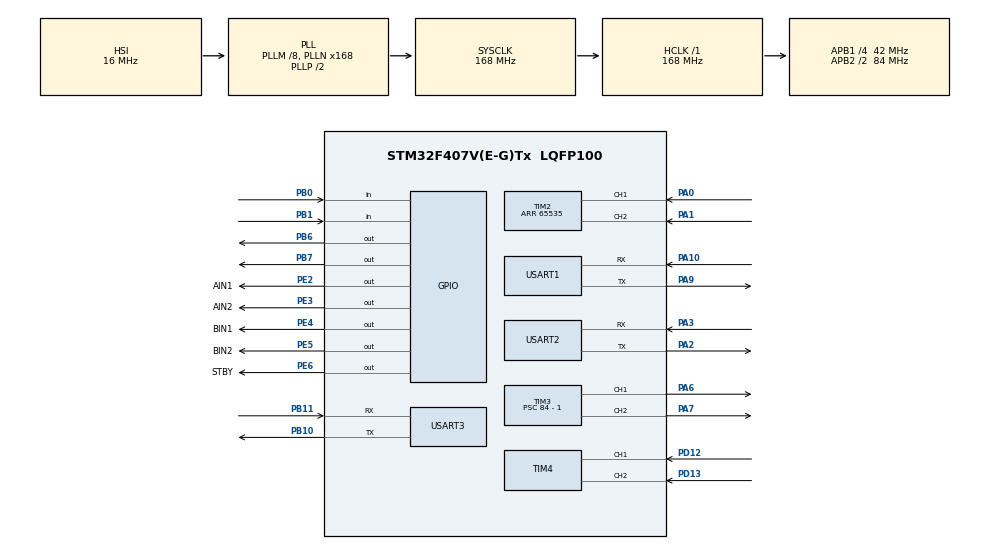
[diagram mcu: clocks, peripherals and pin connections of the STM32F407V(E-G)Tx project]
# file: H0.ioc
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Mcu.Family=STM32F4
Mcu.Name=STM32F407V(E-G)Tx
Mcu.Package=LQFP100
NVIC.PriorityGroup=NVIC_PRIORITYGROUP_4
NVIC.TIM6_DAC_IRQn=true\:0\:0\:false\:false\:true\:true\:true\:true
NVIC.USART2_IRQn=true\:0\:0\:false\:false\:true\:true\:true\:true
NVIC.USART3_IRQn=true\:0\:0\:false\:false\:true\:true\:true\:true
PA0-WKUP.Signal=S_TIM2_CH1_ETR
PA1.Signal=S_TIM2_CH2
PA10.Mode=Asynchronous
PA10.Signal=USART1_RX
PA13.Mode=Serial_Wire
PA13.Signal=SYS_JTMS-SWDIO
PA14.Mode=Serial_Wire
PA14.Signal=SYS_JTCK-SWCLK
PA2.Mode=Asynchronous
PA2.Signal=USART2_TX
PA3.Mode=Asynchronous
PA3.Signal=USART2_RX
PA6.Signal=S_TIM3_CH1
PA7.Signal=S_TIM3_CH2
PA9.Mode=Asynchronous
PA9.Signal=USART1_TX
PB0.GPIO_PuPd=GPIO_PULLUP
PB0.Signal=GPIO_Input
PB1.GPIO_PuPd=GPIO_PULLUP
PB1.Signal=GPIO_Input
PB10.Mode=Asynchronous
PB10.Signal=USART3_TX
PB11.Mode=Asynchronous
PB11.Signal=USART3_RX
PB6.GPIO_ModeDefaultOutputPP=GPIO_MODE_OUTPUT_OD
PB6.GPIO_PuPd=GPIO_PULLUP
PB6.GPIO_Speed=GPIO_SPEED_FREQ_HIGH
PB6.PinState=GPIO_PIN_SET
PB6.Signal=GPIO_Output
PB7.GPIO_ModeDefaultOutputPP=GPIO_MODE_OUTPUT_OD
PB7.GPIO_PuPd=GPIO_NOPULL
PB7.GPIO_Speed=GPIO_SPEED_FREQ_VERY_HIGH
PB7.PinState=GPIO_PIN_SET
PB7.Signal=GPIO_Output
PC14-OSC32_IN.Mode=LSE-External-Oscillator
PC14-OSC32_IN.Signal=RCC_OSC32_IN
PC15-OSC32_OUT.Mode=LSE-External-Oscillator
PC15-OSC32_OUT.Signal=RCC_OSC32_OUT
PD12.Signal=S_TIM4_CH1
PD13.Signal=S_TIM4_CH2
PE2.GPIO_Label=AIN1
PE2.Signal=GPIO_Output
PE3.GPIO_Label=AIN2
PE3.Signal=GPIO_Output
PE4.GPIO_Label=BIN1
PE4.Signal=GPIO_Output
PE5.GPIO_Label=BIN2
PE5.Signal=GPIO_Output
PE6.GPIO_Label=STBY
PE6.Signal=GPIO_Output
PH0-OSC_IN.Mode=HSE-External-Oscillator
PH0-OSC_IN.Signal=RCC_OSC_IN
PH1-OSC_OUT.Mode=HSE-External-Oscillator
PH1-OSC_OUT.Signal=RCC_OSC_OUT
ProjectManager.HeapSize=0x200
ProjectManager.StackSize=0x400
ProjectManager.TargetToolchain=MDK-ARM V5.32
RCC.48MHZClocksFreq_Value=84000000
RCC.AHBFreq_Value=168000000
RCC.APB1CLKDivider=RCC_HCLK_DIV4
RCC.APB1Freq_Value=42000000
RCC.APB1TimFreq_Value=84000000
RCC.APB2CLKDivider=RCC_HCLK_DIV2
RCC.APB2Freq_Value=84000000
RCC.APB2TimFreq_Value=168000000
RCC.CortexFreq_Value=168000000
RCC.HCLKFreq_Value=168000000
RCC.HSE_VALUE=25000000
RCC.HSI_VALUE=16000000
RCC.PLLM=8
RCC.PLLN=168
RCC.SYSCLKFreq_VALUE=168000000
RCC.SYSCLKSource=RCC_SYSCLKSOURCE_PLLCLK
RCC.VCOOutputFreq_Value=336000000
SH.S_TIM2_CH1_ETR.0=TIM2_CH1,Encoder_Interface
SH.S_TIM2_CH2.0=TIM2_CH2,Encoder_Interface
SH.S_TIM3_CH1.0=TIM3_CH1,PWM Generation1 CH1
SH.S_TIM3_CH2.0=TIM3_CH2,PWM Generation2 CH2
SH.S_TIM4_CH1.0=TIM4_CH1,Encoder_Interface
SH.S_TIM4_CH2.0=TIM4_CH2,Encoder_Interface
TIM2.EncoderMode=TIM_ENCODERMODE_TI12
TIM2.Period=65535
TIM3.Channel-PWM\ Generation1\ CH1=TIM_CHANNEL_1
TIM3.Channel-PWM\ Generation2\ CH2=TIM_CHANNEL_2
TIM3.Period=100 - 1
TIM3.Prescaler=84 - 1
TIM4.EncoderMode=TIM_ENCODERMODE_TI12
TIM6.Period=200 - 1
TIM6.Prescaler=8400 - 1
USART1.VirtualMode=VM_ASYNC
USART2.VirtualMode=VM_ASYNC
USART3.VirtualMode=VM_ASYNC
VP_TIM6_VS_ClockSourceINT.Mode=Enable_Timer
board=custom

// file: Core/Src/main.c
/* USER CODE BEGIN Header */
/**
  ******************************************************************************
  * @file           : main.c
  * @brief          : Main program body
  ******************************************************************************
  * @attention
  *
  * Copyright (c) 2026 STMicroelectronics.
  * All rights reserved.
  *
  * This software is licensed under terms that can be found in the LICENSE file
  * in the root directory of this software component.
  * If no LICENSE file comes with this software, it is provided AS-IS.
  *
  ******************************************************************************
  */
/* USER CODE END Header */
#include "main.h"
#include "tim.h"
#include "usart.h"
#include "gpio.h"

/* USER CODE BEGIN Includes */
#include "Motor.h"
#include "Encoder.h"
#include "pid.h"
#include "stdio.h"
#include "wit_imu.h"
#include <math.h>
#include "k230_track.h"
#include "task.h"
#include "oled.h"
/* USER CODE END Includes */

/* USER CODE BEGIN PTD */
// ==== Uart2 & Uart3 ===
uint8_t rx_data;

// ==== Pid para ===
PID_TypeDef pid_left;
PID_TypeDef pid_right;

// ====  pid ====
int16_t target_v_left = 0;  // 左轮独立目标
int16_t target_v_right = 0; // 右轮独立目标
int16_t current_v_left = 0;
int16_t current_v_right = 0;

//=== 角度环 ===
PID_TypeDef pid_angle;
float Yaw_Offset = 0;
float target_angle = 0;
float current_angle = 0;
int16_t base_speed = 0;
float turn_out;
extern uint8_t lap_count;
extern uint8_t rotating;       // 旋转阶段标志 (task.c)

/* USER CODE END PTD */

void SystemClock_Config(void);

int main(void)
{

  /* MCU Configuration--------------------------------------------------------*/

  /* Reset of all peripherals, Initializes the Flash interface and the Systick. */
  HAL_Init();

  /* Configure the system clock */
  SystemClock_Config();

  /* Initialize all configured peripherals */
  MX_GPIO_Init();
  MX_TIM2_Init();
  MX_TIM3_Init();
  MX_TIM4_Init();
  MX_USART1_UART_Init();
  MX_TIM6_Init();
  MX_USART2_UART_Init();
  MX_USART3_UART_Init();
  /* USER CODE BEGIN 2 */
    //HAL_Delay(500);  // == 角度校准
	Encoder_Init();
	Motor_Init();
	//Motor_SetSpeed_B(-10);
	//Motor_SetSpeed_A(-10);
	OLED_Init();
	OLED_Clear();
	OLED_ShowString(0, 0, (uint8_t *)"Task:", 16, 1);
	OLED_ShowString(0, 16, (uint8_t *)"startflag:", 16, 1);
	OLED_ShowString(0, 32, (uint8_t *)"count:", 16, 1);
	OLED_Refresh();
	PID_Init(&pid_left,0.9f, 0.12f, 0.0f, 500.0f);  // == lelf
	PID_Init(&pid_right, 0.8f, 0.12f, 0.0f, 500.0f);  // == right
	PID_Init(&pid_angle, 1.2f, 0.0f, 0.6f, 40.0f); // == angle
	Task_Manager_Init();
	HAL_UART_Receive_IT(&huart2, &rx_data, 1);
    HAL_UART_Receive_IT(&huart3, &k230_rx_data, 1);
    HAL_TIM_Base_Start_IT(&htim6);
  /* USER CODE END 2 */

  /* Infinite loop */
  /* USER CODE BEGIN WHILE */
  while (1)
  {
	  // == 串口打印数据进行测试
	               //printf("%.2f,%d,%d\n", current_angle, current_v_left, current_v_right);
				  //printf("%.2f\n",IMU_Data.Yaw);
					//HAL_Delay(10)；
	   //printf("xrf%.2f,%.2f\n",IMU_Data.Yaw,current_angle);
	  // HAL_Delay(50);
	  // ==
	   // 1. 扫描按键，决定任务的切换与启动 (实现在 task.c 中)
      Task_Key_Scan();
      // 2. 任务分发，跑对应的状态机 (实现在 task.c 中)
      Task_Dispatcher();
	  //
	  OLED_ShowSignedNum(48, 0,selected_task, 4, 16, 1);
	  OLED_ShowSignedNum(80, 16, task_running, 4, 16, 1);
	  OLED_ShowSignedNum(48, 32, count, 4, 16, 1);
	  OLED_Refresh();
	  OLED_ShowSignedNum(48, 48, lap_count, 4, 16, 1);

	  //printf("%d\r\n",selected_task);
      HAL_Delay(10);
    /* USER CODE END WHILE */

  }
}

void SystemClock_Config(void)
{
  RCC_OscInitTypeDef RCC_OscInitStruct = {0};
  RCC_ClkInitTypeDef RCC_ClkInitStruct = {0};

  /** Configure the main internal regulator output voltage
  */
  __HAL_RCC_PWR_CLK_ENABLE();
  __HAL_PWR_VOLTAGESCALING_CONFIG(PWR_REGULATOR_VOLTAGE_SCALE1);

  /** Initializes the RCC Oscillators according to the specified parameters
  * in the RCC_OscInitTypeDef structure.
  */
  RCC_OscInitStruct.OscillatorType = RCC_OSCILLATORTYPE_HSI;
  RCC_OscInitStruct.HSIState = RCC_HSI_ON;
  RCC_OscInitStruct.HSICalibrationValue = RCC_HSICALIBRATION_DEFAULT;
  RCC_OscInitStruct.PLL.PLLState = RCC_PLL_ON;
  RCC_OscInitStruct.PLL.PLLSource = RCC_PLLSOURCE_HSI;
  RCC_OscInitStruct.PLL.PLLM = 8;
  RCC_OscInitStruct.PLL.PLLN = 168;
  RCC_OscInitStruct.PLL.PLLP = RCC_PLLP_DIV2;
  RCC_OscInitStruct.PLL.PLLQ = 4;
  if (HAL_RCC_OscConfig(&RCC_OscInitStruct) != HAL_OK)
  {
    Error_Handler();
  }

  /** Initializes the CPU, AHB and APB buses clocks
  */
  RCC_ClkInitStruct.ClockType = RCC_CLOCKTYPE_HCLK|RCC_CLOCKTYPE_SYSCLK
                              |RCC_CLOCKTYPE_PCLK1|RCC_CLOCKTYPE_PCLK2;
  RCC_ClkInitStruct.SYSCLKSource = RCC_SYSCLKSOURCE_PLLCLK;
  RCC_ClkInitStruct.AHBCLKDivider = RCC_SYSCLK_DIV1;
  RCC_ClkInitStruct.APB1CLKDivider = RCC_HCLK_DIV4;
  RCC_ClkInitStruct.APB2CLKDivider = RCC_HCLK_DIV2;

  if (HAL_RCC_ClockConfig(&RCC_ClkInitStruct, FLASH_LATENCY_5) != HAL_OK)
  {
    Error_Handler();
  }
}

/* USER CODE BEGIN 4 */
void HAL_TIM_PeriodElapsedCallback(TIM_HandleTypeDef *htim)
{
	// 判断是不是我们用来做 PID 的 TIM6
    if (htim->Instance == TIM6)
    {
		// == 中断测试 ==
		//printf("test");
		// == 判断计数 ==
		if (task_running == 1)
        {
            if (count_debounce > 0)
            {
                count_debounce--;
            }

            uint8_t current_line = (line_sensor_data != 0x00);
            if (last_line_status == 1 && current_line == 0)
            {
                if (count_debounce == 0)
                {
                    count++;
                    count_debounce = 10; // DEBOUNCE_INIT (200ms)
                }
            }
            last_line_status = current_line;
        }
        // ================= 1. 数据清洗：角度突变过滤器 =================
        static float last_valid_angle = 0;

        // 减去 Yaw_Offset，让发车时按下按键后的零点生效！
        float raw_yaw = IMU_Data.Yaw - Yaw_Offset;
        float diff = raw_yaw - last_valid_angle;
        while (diff > 180.0f)  diff -= 360.0f;
        while (diff < -180.0f) diff += 360.0f;
        if (fabs(diff) > 30.0f && last_valid_angle != 0) {
            current_angle = last_valid_angle;
        } else {
            current_angle = raw_yaw;
            last_valid_angle = raw_yaw;
        }
        // ================= 2. 核心大脑：控制权分配 (双模切换) =================
        if (task_running == 1)
        {
            // ---- 盲开超时保护: 连续 0x00 超过 1 秒触发紧急停车 ----
            static uint8_t blind_ticks = 0;

            if (rotating)
            {
                // ---- 【模式 R：旋转阶段】纯 IMU 角度环控制，完全无视 K230 ----
                blind_ticks = 0;
                float angle_error = target_angle - current_angle;
                while (angle_error > 180.0f)  angle_error -= 360.0f;
                while (angle_error < -180.0f) angle_error += 360.0f;
                turn_out = PID_Compute(&pid_angle, angle_error, 0);
            }
            else if (line_sensor_data == 0x00)
            {
                // ---- 【模式 A：盲开模式】没有黑线，全白！听陀螺仪的，死死保住目标角度 ----
                blind_ticks++;
                if (blind_ticks > 50)  // 连续 1 秒无视野 → 紧急停车
                {
                    base_speed = 0;
                    task_running = 0;
                    blind_ticks = 0;
                }
                else
                {
                    float angle_error = target_angle - current_angle;
                    while (angle_error > 180.0f)  angle_error -= 360.0f;
                    while (angle_error < -180.0f) angle_error += 360.0f;
                    turn_out = PID_Compute(&pid_angle, angle_error, 0);
                }
            }
            else
            {
                // ---- 【模式 B：循迹模式】看到黑线了！抛弃陀螺仪，听摄像头的！ ----
                blind_ticks = 0;
                // 同步目标角度，防止脱线切回盲开瞬间产生剧烈抽搐
                target_angle = current_angle;
                turn_out = K230_Get_Turn_Speed(line_sensor_data);
            }
            // ================= 3. turn_out 平滑滤波 (防抖) =================
            static float turn_out_smooth = 0;
            turn_out_smooth = 0.3f * turn_out_smooth + 0.7f * turn_out;

            target_v_left  = base_speed + ff_diff - (int16_t)turn_out_smooth;
            target_v_right = base_speed - ff_diff + (int16_t)turn_out_smooth;
        }
        else
        {
            target_v_left = 0;
            target_v_right = 0;
        }
        // ================= 3. 底层肌肉：速度环 PID =================
        // === 左轮 ===
        int16_t raw_l = Encoder_Get_Count_Left();
        static float fil_l = 0;
        fil_l = 0.7f * fil_l + 0.3f * (float)raw_l;
        float out_l = PID_Compute(&pid_left, (float)target_v_left, fil_l);
        Motor_SetSpeed_A((int16_t)out_l);
        current_v_left = (int16_t)fil_l;

        // === 右轮 ===
        int16_t raw_r = Encoder_Get_Count_Right();
        static float fil_r = 0;
        fil_r = 0.7f * fil_r + 0.3f * (float)raw_r;
        float out_r = PID_Compute(&pid_right, (float)target_v_right, fil_r);
        Motor_SetSpeed_B((int16_t)out_r);
        current_v_right = (int16_t)fil_r;
		//printf("%d,%d\r\n",raw_l,raw_r);
    }
}

//uart
void HAL_UART_RxCpltCallback(UART_HandleTypeDef *huart)
{
	if(huart->Instance == USART2)
    {
        WIT_Parse_Byte(rx_data);
        HAL_UART_Receive_IT(&huart2, &rx_data, 1);
    }

    if(huart->Instance == USART3)
    {
        // 把收到的 1 个字节交给封装好的状态机
        K230_Parse_Byte(k230_rx_data);
        // 重新开启串口 3 接收中断
        HAL_UART_Receive_IT(&huart3, &k230_rx_data, 1);
		//
    }
}
/* USER CODE END 4 */

void Error_Handler(void)
{
  __disable_irq();
  while (1)
  {
  }
}
